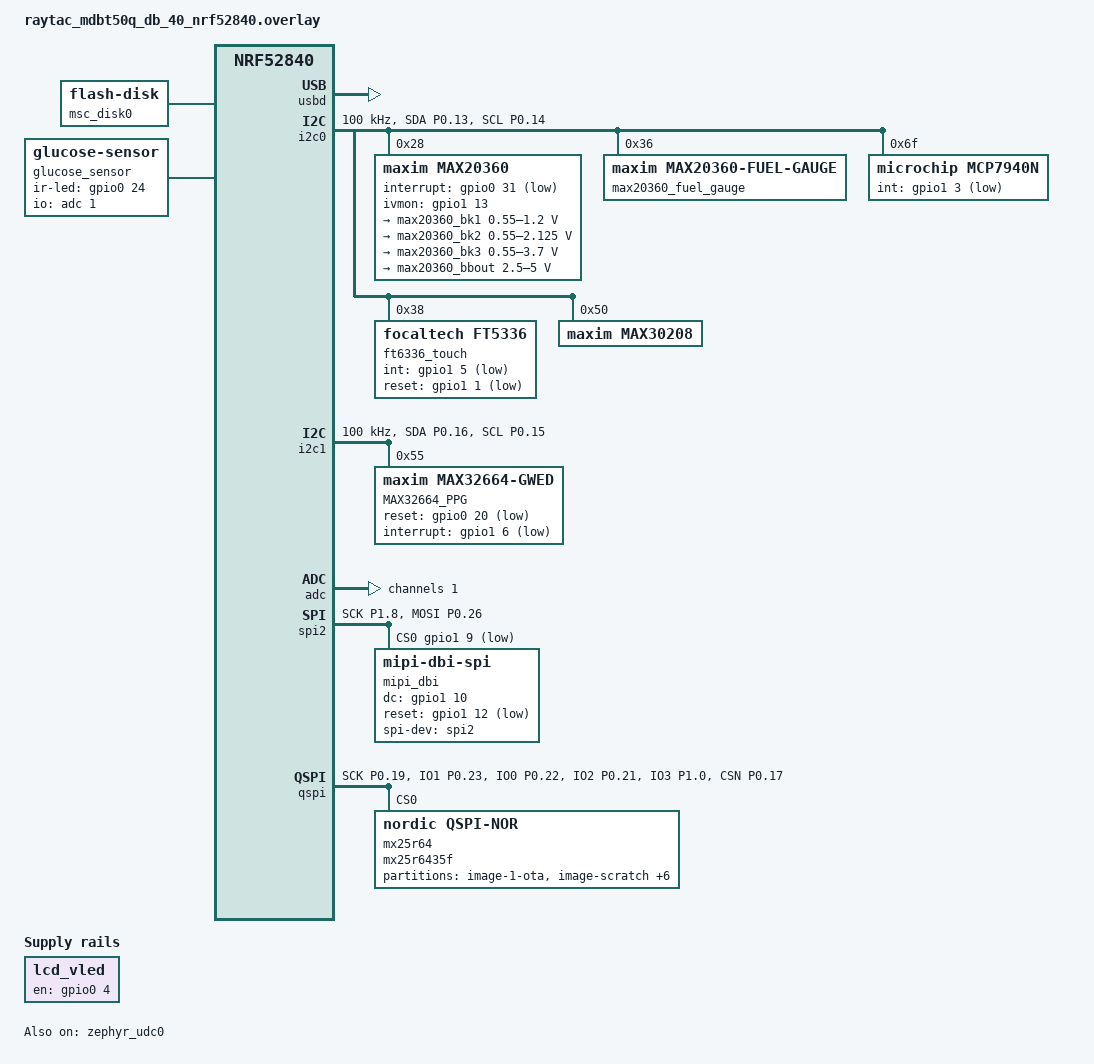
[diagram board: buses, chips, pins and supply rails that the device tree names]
/* =============================================================================
 * Board Overlay - MAX20360 PMIC + MAX32664 Sensor Hubs
 * =============================================================================
 * Target Board: Raytac MDBT50Q-DB-40 (nRF52840)
 * 
 * Hardware Configuration:
 * 
 * I2C Buses:
 *   - I2C0: SDA = P0.13, SCL = P0.14
 *     Devices: MAX20360 PMIC, MCP7940N RTC, FT6336 Touch, MAX30208 Temp
 *   - I2C1: SDA = P0.16, SCL = P0.15
 *     Devices: MAX32664GWED @ 0x55 (finger PPG hub, standard I2C address)
 *     Note: RSTN=P0.20, MFIO=P1.6
 * 
 * SPI Buses:
 *   - SPI2: Display (ST7789V)
 *     Pins: SCK=P1.8, MOSI=P0.26, CS=P1.9, DC=P1.10, RST=P1.12
 *     Note: Moved from SPI1 to avoid I2C1/SPI1 hardware conflict
 * 
 * GPIO Pins:
 *   - P0.31: MAX20360 INT (active low)
 *   - P0.25: MAX20360 RST (status output, not controlled)
 *   - P0.28, P0.30, P0.02: MAX20360 MPC0/1/2 (mode control)
 *   - P1.13: MAX20360 IVMON (current monitoring)
 *   - P1.3: MCP7940N INT (active low)
 *   - P1.5: FT6336 INT (active low)
 *   - P1.1: FT6336 RST (active low)
 *   - P0.20: MAX32664GWED RSTN (active low, reset pin)
 *   - P1.6: MAX32664GWED MFIO (active low, interrupt/data-ready)
 * 
 * Peripheral Conflicts Resolved:
 *   - SPI1 disabled (conflicts with I2C1 on same hardware instance)
 *   - LED0/LED1 disabled (conflict with I2C0 pins)
 *   - PWM0 disabled (conflict with I2C0 pins)
 * ============================================================================= */

#include <dt-bindings/i2c/i2c.h>
#include <dt-bindings/adc/nrf-adc.h>
#include <dt-bindings/gpio/gpio.h>

/* =============================================================================
 * Device Tree Root - Aliases and Chosen
 * ============================================================================= */
/ {
	/* Device aliases for easy access */
	aliases {
		/* PMIC and regulators */
		pmic0 = &max20360;
		bk1 = &max20360_bk1;
		bk2 = &max20360_bk2;
		bk3 = &max20360_bk3;
		bbout = &max20360_bbout;
		fuelgauge = &max20360_fuel_gauge;
		charger0 = &max20360_charger;
		
		/* Sensors */
		glucose0 = &glucose_sensor;
		/* Both aliases point to the same PPG node - only one compatible is active at a time */
		hub-wrist = &max32664_ppg;
		hub-finger = &max32664_ppg;
		
		/* Other devices */
		rtc0 = &mcp7940n;
		display0 = &st7789v_display;
	};

	/* Zephyr chosen devices */
	chosen {
		zephyr,display = &st7789v_display;
		zephyr,touch = &ft6336_touch;
		zephyr,code-partition = &slot0_partition;
		sram = &sram0;
	};
	
	/* Fixed regulators */
	regulators: regulators {
		lcd_vled: regulator-lcd-vled {
			compatible = "regulator-fixed";
			regulator-name = "vled-lcd";
			enable-gpios = <&gpio0 4 GPIO_ACTIVE_HIGH>;
			regulator-boot-on;
			startup-delay-us = <5000>;
		};
	};

	/* LVGL pointer input from touchscreen */
	lvgl_pointer: lvgl_pointer_input {
		compatible = "zephyr,lvgl-pointer-input";
		input = <&ft6336_touch>;
	};
	
	/* USB Mass Storage Flash Disk */
	/* Partition is defined in pm_static.yml, this node enables the flash disk driver */
	msc_disk0 {
		compatible = "zephyr,flash-disk";
		partition = <&littlefs_partition>;
		disk-name = "SENSORLOG";
		cache-size = <4096>;
	};
};

/* USB device configuration */
&zephyr_udc0 {
	status = "okay";
};

&usbd {
	status = "okay";
};

/* =============================================================================
 * I2C0 - Main Board Bus (P0.13/P0.14)
 * =============================================================================
 * 100 kHz I2C bus for PMIC, RTC, touch, and temperature sensor
 * ============================================================================= */
&i2c0 {
	status = "okay";
	pinctrl-0 = <&i2c0_custom>;
	pinctrl-1 = <&i2c0_sleep_custom>;
	pinctrl-names = "default", "sleep";
	clock-frequency = <I2C_BITRATE_STANDARD>;  /* 100 kHz */
	/delete-property/ zephyr,pm-device-runtime-auto;

	/* MAX20360 PMIC - Power Management IC */
	max20360: max20360@28 {
		compatible = "maxim,max20360";
		reg = <0x28>;
		status = "okay";
		
		/* Interrupt GPIO - P0.31 (active low) */
		interrupt-gpios = <&gpio0 31 GPIO_ACTIVE_LOW>;
		
		/* Variant: MAX20360F - explicitly set to avoid auto-detection */
		maxim,variant = "max20360f";
		
		/* IVMON (Current Monitoring) GPIO - P1.13 */
		/* IVMON outputs analog voltage proportional to monitored current (default: Buck1) */
		ivmon-gpios = <&gpio1 13 GPIO_ACTIVE_HIGH>;

		/* Regulator outputs container */
		/* Note: Only BK1, BK2, BK3, and BBOUT are used. LSW1 and LSW2 are disabled (not in this container). */
		regulators {
			compatible = "maxim,max20360-regulator";
			
			/* BK1 Regulator - 1.2V (VDD_CORE) */
			/* MAX20360F: Range 0.55V–3.7V (10mV steps), configured 1.2V max is within device capability */
			max20360_bk1: bk1 {
				maxim,source = "bk1";
				regulator-name = "vdd_core";
				regulator-min-microvolt = <550000>;
				regulator-max-microvolt = <1200000>;  /* Extended to 1.2V for MAX20360F */
				regulator-init-microvolt = <1200000>;  /* Initial voltage: 1.2V */
				regulator-boot-on;
				regulator-always-on;
			};

			/* BK2 Regulator - 1.8V (VDD_IO) */
			max20360_bk2: bk2 {
				maxim,source = "bk2";
				regulator-name = "vdd_io";
				regulator-min-microvolt = <550000>;
				regulator-max-microvolt = <2125000>;
				regulator-init-microvolt = <1800000>;  /* Initial voltage: 1.8V */
				regulator-boot-on;
				regulator-always-on;
			};

			/* BK3 Regulator - Default voltage (variant-specific default) */
			/* MAX20360F: Uses default voltage from OTP, no explicit configuration needed */
			max20360_bk3: bk3 {
				maxim,source = "bk3";
				regulator-name = "vdd_bk3";
				regulator-min-microvolt = <550000>;
				regulator-max-microvolt = <3700000>;
				/* No regulator-init-microvolt - uses variant default */
				regulator-boot-on;
				regulator-always-on;
			};

			/* BBOUT Buck-Boost Regulator - 5.0V */
			max20360_bbout: bbout {
				maxim,source = "bbout";
				regulator-name = "vcc_5v";
				regulator-min-microvolt = <2500000>;
				regulator-max-microvolt = <5000000>;
				regulator-init-microvolt = <5000000>;  /* Initial voltage: 5.0V */
				regulator-boot-on;
				regulator-always-on;
			};

			/* LSW1 and LSW2 are NOT configured here - they remain disabled */
		};

		/* Battery Charger Configuration */
		max20360_charger: charger {
			compatible = "maxim,max20360-charger";
			status = "okay";
			charge-voltage-microvolt = <4200000>;     /* 4.2V default */
			charge-current-microamp = <500000>;       /* 500mA default */
			input-current-limit-microamp = <500000>;  /* 500mA default */
		};
	};

	/* MAX20360 Fuel Gauge - Standalone I2C device at 0x36 */
	max20360_fuel_gauge: max20360_fuel_gauge@36 {
		compatible = "maxim,max20360-fuel-gauge";
		reg = <0x36>;  /* I2C address 0x36 (7-bit) */
		status = "okay";
	};

	/* MCP7940N Real-Time Clock */
	mcp7940n: mcp7940n@6f {
		compatible = "microchip,mcp7940n";
		reg = <0x6f>;
		status = "okay";
		int-gpios = <&gpio1 3 GPIO_ACTIVE_LOW>;
	};
	
	/* FT6336 Touch Controller */
	ft6336_touch: ft6336@38 {
		compatible = "focaltech,ft5336";
		reg = <0x38>;
		screen-width = <240>;
		screen-height = <240>;
		int-gpios = <&gpio1 5 GPIO_ACTIVE_LOW>;
		reset-gpios = <&gpio1 1 GPIO_ACTIVE_LOW>;
		swapped-x-y;
		status = "okay";
	};
	
	/* MAX30208 Temperature Sensor */
	max30208: max30208@50 {
		compatible = "maxim,max30208";
		reg = <0x50>;
		status = "okay";
		label = "max30208";
	};
};

/* =============================================================================
 * I2C1 - Sensor Hub Bus (P0.16/P0.15)
 * =============================================================================
 * Dedicated I2C bus for MAX32664 sensor hubs
 * Note: Display moved to SPI2 to avoid I2C1/SPI1 hardware conflict
 * ============================================================================= */
&i2c1 {
	status = "okay";
	pinctrl-0 = <&i2c1_sensor_hub>;
	pinctrl-1 = <&i2c1_sensor_hub_sleep>;
	pinctrl-names = "default", "sleep";
	clock-frequency = <I2C_BITRATE_STANDARD>;  /* 100 kHz */
	/delete-property/ zephyr,pm-device-runtime-auto;
    
	/* MAX32664GWED+ @ 0x55 (Finger PPG Hub) */
	/* GWED variant: Finger PPG + Proximity/ALS Hub */
	/* Manages: MAX30101 (PPG) + VCNL3040 (Prox/ALS) via internal I2C */
	/* Note: 0x55 is the standard I2C address (7-bit) per MAX32664 datasheet */
	max32664_ppg: max32664@55 {
		compatible = "maxim,max32664-gwed";
		
		label = "MAX32664_PPG";
		reg = <0x55>;
		status = "okay";
		
		/* RSTN reset pin (active-low) - P0.20 */
		reset-gpios = <&gpio0 20 GPIO_ACTIVE_LOW>;
		
		/* MFIO interrupt pin (data-ready) - P1.06 (wired on current HW) */
		interrupt-gpios = <&gpio1 6 GPIO_ACTIVE_LOW>;
		
		/* 200 ms poll: sole wake without MFIO; fallback when MFIO IRQ is quiet */
		poll-interval-ms = <200>;
	};
};

/* =============================================================================
 * ADC - Analog-to-Digital Converter
 * =============================================================================
 * Configured for INA122UA instrumentation amplifier (glucose sensor)
 * ============================================================================= */
&adc {
	status = "okay";
	#address-cells = <1>;
	#size-cells = <0>;

	/* INA122UA connected to P0.03 (AIN1) */
	channel@1 {
		reg = <1>;
		zephyr,gain = "ADC_GAIN_1_6";
		zephyr,reference = "ADC_REF_INTERNAL";
		zephyr,acquisition-time = <ADC_ACQ_TIME_DEFAULT>;
		zephyr,input-positive = <NRF_SAADC_AIN1>; /* P0.03 */
		zephyr,resolution = <12>;
	};
};

/* =============================================================================
 * Glucose Sensor - Custom Device Node
 * ============================================================================= */
&{/} {
	glucose_sensor: glucose-sensor {
		compatible = "glucose-sensor";
		status = "okay";
		
		/* IR LED control GPIO - P0.24, active high */
		ir-led-gpios = <&gpio0 24 GPIO_ACTIVE_HIGH>;
		
		/* ADC channel for glucose signal (AIN1 = P0.03) */
		io-channels = <&adc 1>;
		
		/* Measurement configuration */
		num-samples = <80>;          /* 80 ADC samples per measurement */
		led-delay-ms = <2000>;       /* 2 second LED stabilization delay */
		sample-rate-hz = <2>;        /* 2 Hz = 500 ms between samples */
		
		/* Calibration parameters (set during calibration procedure) */
		calibration-offset-mv = <0>;  /* Photodiode dark current offset (mV) */
		calibration-gain = <1000>;    /* Gain correction factor (1000 = 1.0, stored as integer) */
	};
};

/* =============================================================================
 * SPI2 - Display Bus (ST7789V)
 * =============================================================================
 * Display moved from SPI1 to SPI2 to avoid hardware conflict with I2C1
 * Pins: SCK=P1.8, MOSI=P0.26, CS=P1.9, DC=P1.10, RST=P1.12
 * ============================================================================= */
&spi2 {
	compatible = "nordic,nrf-spim";
	status = "okay";
	pinctrl-0 = <&spi2_display>;
	pinctrl-1 = <&spi2_display_sleep>;
	pinctrl-names = "default", "sleep";
	cs-gpios = <&gpio1 9 GPIO_ACTIVE_LOW>;
	
	mipi_dbi: st7789v@0 {
		compatible = "zephyr,mipi-dbi-spi";
		reg = <0>;
		spi-dev = <&spi2>;
		dc-gpios = <&gpio1 10 GPIO_ACTIVE_HIGH>;
		reset-gpios = <&gpio1 12 GPIO_ACTIVE_LOW>;
		write-only;
		#address-cells = <1>;
		#size-cells = <0>;
		
		st7789v_display: st7789v@0 {
			compatible = "sitronix,st7789v";
			reg = <0>;
			mipi-mode = "MIPI_DBI_MODE_SPI_4WIRE";
			mipi-max-frequency = <20000000>;  /* 20 MHz max SPI frequency */
			width = <240>;
			height = <240>;
			x-offset = <0>;
			y-offset = <0>;

			/* Display timing parameters (from datasheet) */
			vcom = <0x19>;
			gctrl = <0x35>;
			vrhs = <0x10>;
			vdvs = <0x20>;
			mdac = <0x00>;
			gamma = <0x01>;
			colmod = <0x05>;
			lcm = <0x2c>;
			porch-param = [0c 0c 00 33 33];
			cmd2en-param = [5a 69 02 01];
			pwctrl1-param = [a4 a1];
			pvgam-param = [d0 04 0d 11 13 2b 3f 54 4c 18 0d 0b 1f 23];
			nvgam-param = [d0 04 0c 11 13 2c 3f 44 51 2f 1f 1f 20 23];
			ram-param = [00 f0];
			rgb-param = [cd 08 14];
		};
	};
};

/* =============================================================================
 * Internal Flash (flash0) - CODE EXECUTION & GROWTH
 * =============================================================================
 * Partition Layout:
 *   0x00000-0x08000 (32 KB):  MCUBoot bootloader (locked)
 *   0x08000-0xE8000 (896 KB): Slot0 (primary app, expanded using reserved)
 *   0xE8000-0x100000 (96 KB): Runtime memory (BSS, heap, stacks)
 * 
 * Note: Delete existing partitions first to avoid conflicts with base board
 * ============================================================================= */
&flash0 {
	/delete-node/ partitions;
	
	partitions {
		compatible = "fixed-partitions";
		#address-cells = <1>;
		#size-cells = <1>;

		/* MCUBoot bootloader partition */
		boot_partition: partition@0 {
			label = "mcuboot";
			reg = <0x00000 0x8000>;  /* 32 KB */
			read-only;
		};

		/* Primary application slot (Slot0) - expanded to 896 KB */
		slot0_partition: partition@8000 {
			label = "image-0";
			reg = <0x08000 0xE0000>;  /* 896 KB (384 KB + 512 KB reserved) */
		};

		/* Runtime memory partition */
		runtime_partition: partition@E8000 {
			label = "runtime";
			reg = <0xE8000 0x18000>;  /* 96 KB */
		};
	};
};

/* =============================================================================
 * SRAM Configuration
 * ============================================================================= */
&sram0 {
	reg = <0x20000000 0x40000>;  /* 256 KB SRAM */
};

/* =============================================================================
 * QSPI - External Flash (MX25R6435F 64Mb / 8 MB)
 * =============================================================================
 * External Flash Partition Layout:
 *   0x00000-0x80000 (512 KB):  Slot1 (OTA staging)
 *   0x80000-0x81000 (4 KB):     MCUBoot scratch (atomic swap)
 *   0x81000-0x181000 (1 MB):    Slot2 (fallback app)
 *   0x181000-0x1A1000 (128 KB): NVS storage (config)
 *   0x1A1000-0x1B1000 (64 KB):  Calibration (prod-locked)
 *   0x1B1000-0x1B5000 (16 KB):  Reserved
 *   0x1B5000-0x3B5000 (2 MB):   LittleFS (sensor logs)
 *   0x3B5000-0x800000 (4.3 MB): User data archive
 * 
 * QSPI Configuration:
 *   - CS pin: P0.17 (GPIO_ACTIVE_LOW)
 *   - CLK pin: P0.19
 *   - Frequency: 32 MHz (tCSS0 ≥ 20 ns per MX25R6435 datasheet Section 8-10)
 *   - Reference: MDBT50Q datasheet Section 2.1 (pin map), Section 3.2 (flash)
 * 
 * Hardware Caveats (see .github/docs/HARDWARE_FLASH_CAVEATS.md):
 *   - Pull-up resistors: WP# (IO2/P0.21) and HOLD# (IO3/P1.0) should be pulled
 *     to VCC if not actively controlled. Internal pull-ups disabled when connected.
 *   - SPI timing: CS# setup/hold times verified at 32 MHz (tCSS0 ≥ 20 ns)
 *   - Power sequencing: Flash should power up after/simultaneously with MCU.
 *     Verify MAX20360 PMIC ramp timing ensures flash VCC stable before QSPI access.
 *   - Write cycle timing: Page program ~3-10ms, sector erase ~300-400ms.
 *     Nordic QSPI driver should poll WIP bit automatically.
 *   - Deep Power-Down: Configured with t-enter-dpd=10ms, t-exit-dpd=35ms.
 *     Driver should handle DPD entry/exit automatically during sleep.
 * ============================================================================= */
&qspi {
	status = "okay";
	pinctrl-0 = <&qspi_flash>;
	pinctrl-1 = <&qspi_flash_sleep>;
	pinctrl-names = "default", "sleep";
	
	mx25r64: mx25r6435f@0 {
		compatible = "nordic,qspi-nor";
		reg = <0>;
		status = "okay";
		sck-frequency = <32000000>;  /* 32 MHz for production - verify tCSS0 ≥ 20 ns timing */
		
		jedec-id = [c2 28 17];  /* Macronix MX25R6435F JEDEC ID */
		sfdp-bfp = [
			e5 20 f1 ff  ff ff ff 03  44 eb 08 6b  08 3b 04 bb
			ee ff ff ff  ff ff 00 ff  ff ff 00 ff  0c 20 0f 52
			10 d8 00 ff  23 72 f5 00  82 ed 04 cc  44 83 68 44
			30 b0 30 b0  f7 c4 d5 5c  00 be 29 ff  f0 d0 ff ff
		];
		size = <67108864>;  /* 64 Mb = 8 MB */
		
		/* Deep Power-Down (DPD) configuration for ultra-low power standby */
		/* Note: Driver should automatically enter DPD during sleep and exit before access */
		has-dpd;
		t-enter-dpd = <10000>;   /* 10 µs - time to enter DPD mode */
		t-exit-dpd = <35000>;    /* 35 µs - time to exit DPD mode (must wait before access) */
		
		/* Power sequencing note: Flash VCC must be stable before QSPI access.
		 * MAX20360 PMIC should ensure proper power-up sequencing.
		 * If flash access fails on cold boot, add initialization delay in driver. */
		
		partitions {
			compatible = "fixed-partitions";
			#address-cells = <1>;
			#size-cells = <1>;
			
			/* Slot1: OTA staging area */
			slot1_partition: partition@0 {
				label = "image-1-ota";
				reg = <0x00000 0x80000>;  /* 512 KB */
			};

			/* MCUBoot scratch partition (atomic swap) */
			scratch_partition: partition@80000 {
				label = "image-scratch";
				reg = <0x80000 0x1000>;  /* 4 KB */
			};

			/* Slot2: Fallback app */
			slot2_partition: partition@81000 {
				label = "image-2-fallback";
				reg = <0x81000 0x100000>;  /* 1 MB */
			};

			/* NVS storage (config) */
			nvs_partition: partition@181000 {
				label = "nvs_storage";
				reg = <0x181000 0x20000>;  /* 128 KB */
			};

			/* Calibration (production-locked, read-only) */
			calibration_partition: partition@1A1000 {
				label = "calibration";
				reg = <0x1A1000 0x10000>;  /* 64 KB */
				read-only;
			};

			/* Reserved external partition */
			reserved_ext_partition: partition@1B1000 {
				label = "reserved-ext";
				reg = <0x1B1000 0x4000>;  /* 16 KB */
			};

			/* LittleFS partition (sensor logs) */
			littlefs_partition: partition@1B5000 {
				label = "littlefs_storage";
				reg = <0x1B5000 0x200000>;  /* 2 MB */
			};

			/* User data archive */
			user_data_partition: partition@3B5000 {
				label = "user-data";
				reg = <0x3B5000 0x44B000>;  /* 4.3 MB */
			};
		};
	};
};

/* =============================================================================
 * Disable Conflicting Peripherals
 * ============================================================================= */
/* LEDs conflict with I2C0 pins */
&led0 {
	status = "disabled";
};

&led1 {
	status = "disabled";
};

/* PWM0 conflicts with I2C0 pins */
&pwm0 {
	status = "disabled";
};

/* SPI1 disabled (conflicts with I2C1 - same hardware instance) */
&spi1 {
	status = "disabled";
};


/* =============================================================================
 * Pin Control (Pinctrl) Configuration
 * =============================================================================
 * All pin configurations must be defined before being referenced
 * ============================================================================= */
&pinctrl {
	/* I2C0 pinctrl - Main board bus (P0.13/P0.14) */
	i2c0_custom: i2c0_custom {
		group1 {
			psels = <NRF_PSEL(TWIM_SDA, 0, 13)>,
				<NRF_PSEL(TWIM_SCL, 0, 14)>;
		};
	};

	i2c0_sleep_custom: i2c0_sleep_custom {
		group1 {
			psels = <NRF_PSEL(TWIM_SDA, 0, 13)>,
				<NRF_PSEL(TWIM_SCL, 0, 14)>;
			low-power-enable;
		};
	};

	/* I2C1 pinctrl - Sensor hub bus (P0.16/P0.15) */
	i2c1_sensor_hub: i2c1_sensor_hub {
		group1 {
			psels = <NRF_PSEL(TWIM_SDA, 0, 16)>,
				<NRF_PSEL(TWIM_SCL, 0, 15)>;
		};
	};

	i2c1_sensor_hub_sleep: i2c1_sensor_hub_sleep {
		group1 {
			psels = <NRF_PSEL(TWIM_SDA, 0, 16)>,
				<NRF_PSEL(TWIM_SCL, 0, 15)>;
			low-power-enable;
		};
	};

	/* SPI2 pinctrl - Display (P1.8/P0.26) */
	spi2_display: spi2_display {
		group1 {
			psels = <NRF_PSEL(SPIM_SCK, 1, 8)>,
				<NRF_PSEL(SPIM_MOSI, 0, 26)>;
		};
	};

	spi2_display_sleep: spi2_display_sleep {
		group1 {
			psels = <NRF_PSEL(SPIM_SCK, 1, 8)>,
				<NRF_PSEL(SPIM_MOSI, 0, 26)>;
			low-power-enable;
		};
	};

	/* QSPI pinctrl - External flash (CS on P0.17, CLK on P0.19) */
	/* Hardware Note: WP# (IO2/P0.21) and HOLD# (IO3/P1.0) require pull-up resistors
	 * to VCC if not actively controlled. Internal pull-ups are disabled when connected.
	 * Verify hardware schematic includes pull-ups on these pins. */
	qspi_flash: qspi_flash {
		group1 {
			psels = <NRF_PSEL(QSPI_SCK, 0, 19)>,  /* CLK: P0.19 */
				<NRF_PSEL(QSPI_IO1, 0, 23)>,     /* IO0/MOSI: P0.23 */
				<NRF_PSEL(QSPI_IO0, 0, 22)>,     /* IO1/MISO: P0.22 */
				<NRF_PSEL(QSPI_IO2, 0, 21)>,     /* IO2/WP#: P0.21 (requires pull-up to VCC) */
				<NRF_PSEL(QSPI_IO3, 1, 0)>,      /* IO3/HOLD#: P1.0 (requires pull-up to VCC) */
				<NRF_PSEL(QSPI_CSN, 0, 17)>;    /* CS#: P0.17 (GPIO_ACTIVE_LOW) */
		};
	};
	
	qspi_flash_sleep: qspi_flash_sleep {
		group1 {
			psels = <NRF_PSEL(QSPI_SCK, 0, 19)>,  /* CLK: P0.19 */
				<NRF_PSEL(QSPI_IO1, 0, 23)>,     /* IO0/MOSI: P0.23 */
				<NRF_PSEL(QSPI_IO0, 0, 22)>,     /* IO1/MISO: P0.22 */
				<NRF_PSEL(QSPI_IO2, 0, 21)>,     /* IO2/WP#: P0.21 */
				<NRF_PSEL(QSPI_IO3, 1, 0)>,      /* IO3/HOLD#: P1.0 */
				<NRF_PSEL(QSPI_CSN, 0, 17)>;     /* CS#: P0.17 */
			low-power-enable;
		};
	};
};
